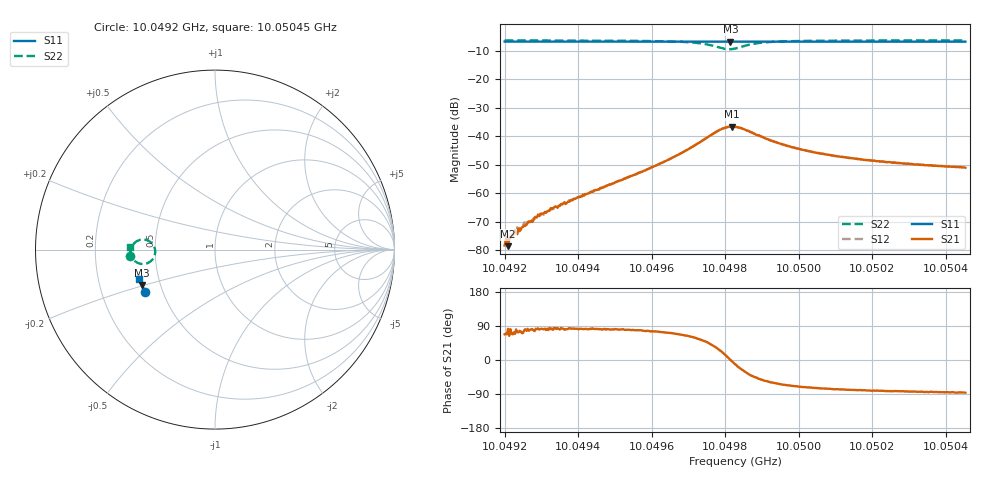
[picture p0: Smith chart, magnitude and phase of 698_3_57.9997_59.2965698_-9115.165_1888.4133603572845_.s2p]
#  HZ  S  RI  R  50.00
! Rohde & Schwarz Vector Network Analyzer
! Rohde-Schwarz,ZNB20-2Port,1311601062101988,3.16
! Created: UTC 3/21/2024, 1:21:40 AM
! freq[Hz]  re:S11  im:S11  re:S21  im:S21  re:S12  im:S12  re:S22  im:S22
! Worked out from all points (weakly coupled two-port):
!   401 points, 10.0492 GHz to 10.05045 GHz, reference 50 ohm
!   highest |S21| = -36.60 dB at 10.04982 GHz (marker M1); lowest = -78.5 dB at 10.04921 GHz (marker M2)
!   lowest |S11| = -6.9 dB at 10.04981 GHz (marker M3), VSWR 2.65, Z = 19.8 - j9.92 ohm
!   |S11| at or under -10 dB: nowhere
!   |S22| runs from -9.6 to -6.5 dB; largest |S21 - S12| = 0.0012
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1.00492e10  -0.3883 -0.236  4.61e-05 0.000113  4.91e-05 0.000125  -0.4735 -0.0355
1.0049203e10  -0.3885 -0.2359  5.22e-05 0.000139  2.56e-05 0.000143  -0.4736 -0.0352
1.0049209e10  -0.3887 -0.2357  1.63e-05 0.000118  4.68e-05 0.000153  -0.4736 -0.0345
1.0049215e10  -0.3888 -0.2352  2.53e-05 0.000167  3.52e-05 0.000148  -0.4736 -0.034
1.0049222e10  -0.3891 -0.2349  6.79e-05 0.000165  5.4e-05 0.000184  -0.4736 -0.0334
1.004925e10  -0.3899 -0.2332  8.25e-05 0.000246  6.95e-05 0.00026  -0.4735 -0.0309
1.0049297e10  -0.3914 -0.2304  6.46e-05 0.000434  3.91e-05 0.000409  -0.4734 -0.0264
1.004941e10  -0.395 -0.2237  0.00012 0.000872  5.78e-05 0.000905  -0.4725 -0.0143
1.0049619e10  -0.4014 -0.2114  0.000864 0.00312  0.000697 0.00319  -0.4619 0.0199
1.0049695e10  -0.4033 -0.2065  0.00247 0.00514  0.00219 0.0053  -0.443 0.0419
1.0049757e10  -0.4045 -0.2026  0.00736 0.00695  0.00696 0.00733  -0.3928 0.0554
1.0049792e10  -0.4049 -0.2008  0.0128 0.00474  0.0122 0.00533  -0.3456 0.0274
1.0049814e10  -0.4052 -0.1998  0.0147 0.000203  0.0148 0.00111  -0.3331 -0.0164
1.0049817e10  -0.4053 -0.1997  0.0148 -0.000613  0.0147 0.000384  -0.3339 -0.0234
1.0049826e10  -0.4056 -0.1993  0.0143 -0.0028  0.0145 -0.00176  -0.34 -0.0425
1.0049858e10  -0.4068 -0.198  0.0106 -0.00701  0.0109 -0.0063  -0.3824 -0.0778
1.0049901e10  -0.4084 -0.1957  0.00588 -0.0077  0.0063 -0.00734  -0.4298 -0.0743
1.0049967e10  -0.4103 -0.1916  0.00269 -0.00624  0.00314 -0.00613  -0.4575 -0.0519
1.0050036e10  -0.4124 -0.1875  0.00155 -0.00507  0.00185 -0.00502  -0.4674 -0.0343
1.005014e10  -0.4151 -0.181  0.000786 -0.00408  0.00108 -0.00406  -0.4725 -0.0165
1.0050246e10  -0.4176 -0.1745  0.000473 -0.00352  0.000699 -0.00345  -0.4743 -0.00314
1.0050453e10  -0.4224 -0.1619  0.000181 -0.00281  0.000353 -0.00281  -0.4749 0.0168
